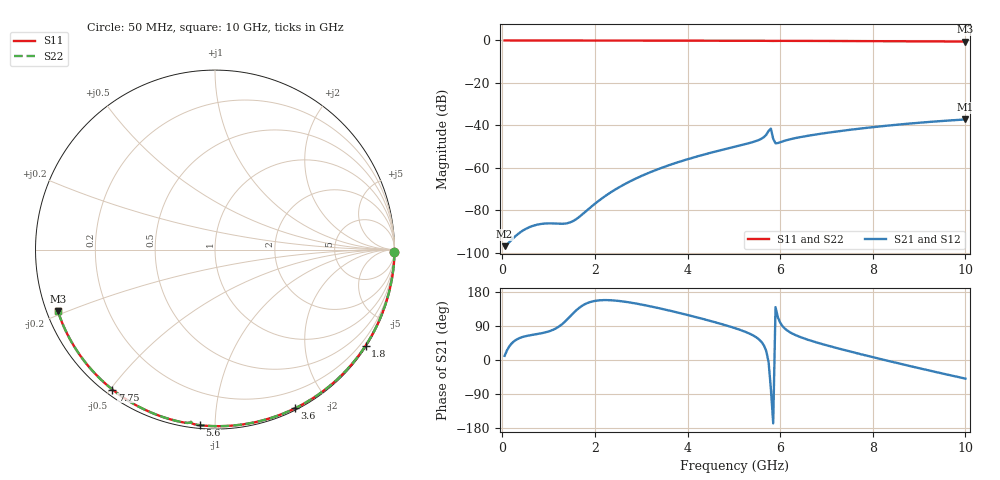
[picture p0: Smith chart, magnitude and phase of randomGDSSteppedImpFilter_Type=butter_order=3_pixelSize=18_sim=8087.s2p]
! freq	dB(S11)	phase(S11)	dB(S12)	phase(S12)
!  dB(S21)	phase(S21)	dB(S22)	phase(S22)
!S-par simulation data
#  GHz  S  DB  R 50
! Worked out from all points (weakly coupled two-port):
!   200 points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, 50 MHz to 10 GHz, reference 50 ohm
!   highest |S21| = -37.19 dB at 10 GHz (marker M1); lowest = -96.8 dB at 50 MHz (marker M2)
!   lowest |S11| = -0.5 dB at 10 GHz (marker M3), VSWR 32.40, Z = 1.6 - j9.48 ohm
!   |S11| at or under -10 dB: nowhere
!   |S22| runs from -0.5 to 0.0 dB; largest |S21 - S12| = 0
!   S11 on the Smith chart (normalised r, x): 50 MHz: open; 1.8 GHz: 0.03, -3.43; 3.6 GHz: 0.02, -1.62; 5.6 GHz: 0.02, -0.92; 7.75 GHz: 0.02, -0.51; 10 GHz: 0.03, -0.19
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0.05  -0.00 -0.9  -96.83 11.0  -96.83 11.0  -0.00 -0.9
0.85  -0.02 -15.5  -86.33 70.7  -86.33 70.7  -0.02 -15.5
1.75  -0.04 -31.6  -81.46 145.1  -81.46 145.1  -0.04 -31.6
1.8  -0.04 -32.5  -80.53 148.3  -80.53 148.3  -0.04 -32.5
1.85  -0.04 -33.4  -79.59 150.9  -79.59 150.9  -0.04 -33.4
2.25  -0.05 -40.4  -72.82 158.1  -72.82 158.1  -0.05 -40.4
2.55  -0.06 -45.6  -68.76 155.4  -68.76 155.4  -0.06 -45.6
2.95  -0.07 -52.4  -64.33 147.6  -64.33 147.6  -0.07 -52.4
3.4  -0.08 -60.0  -60.28 136.3  -60.28 136.3  -0.08 -59.9
3.6  -0.08 -63.3  -58.72 130.7  -58.72 130.7  -0.08 -63.3
4.25  -0.10 -73.8  -54.34 111.0  -54.34 111.0  -0.10 -73.8
5.05  -0.13 -86.4  -49.87 83.1  -49.87 83.1  -0.13 -86.4
5.6  -0.16 -95.0  -46.21 47.3  -46.21 47.3  -0.16 -94.9
5.7  -0.17 -96.6  -44.40 23.8  -44.40 23.8  -0.17 -96.6
5.8  -0.28 -98.0  -41.50 -76.6  -41.50 -76.6  -0.28 -97.9
5.85  -0.22 -98.3  -46.35 -167.2  -46.35 -167.2  -0.22 -98.2
5.9  -0.19 -99.1  -48.39 139.5  -48.39 139.5  -0.19 -99.1
6.25  -0.19 -104.5  -46.33 70.5  -46.33 70.5  -0.19 -104.4
6.7  -0.22 -111.1  -44.51 49.6  -44.51 49.6  -0.22 -111.1
7.75  -0.29 -126.2  -41.42 15.0  -41.42 15.0  -0.29 -126.2
8.35  -0.35 -134.8  -40.02 -2.9  -40.02 -2.9  -0.35 -134.8
10  -0.54 -158.5  -37.19 -49.1  -37.19 -49.1  -0.54 -158.5
